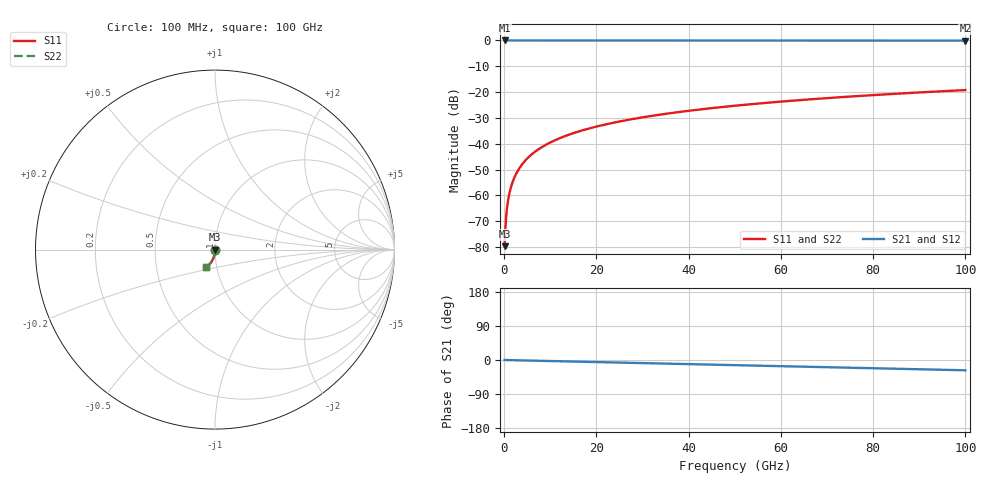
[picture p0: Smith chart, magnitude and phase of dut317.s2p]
! Touchstone file exported from HFSS 2026.1.0
!  File:  C:/ffzhzh/LocalFiles/Ansys_Project_Files/temp_train_TSV_317_1783509453_44152.aedt
!  Generated:  07:18:35 PM Jul  8, 2026
!  Design:  TSV
!  Project:  temp_train_TSV_317_1783509453_44152
! Variables:
!  h_bsmrdl = 2um
!  h_ox = 20um
!  h_rdl = 5um
!  h_sub = 51.19um
!  h_tmrdl = 5um
!  h_tsv = 51.19um
!  h_via = 3um
!  l_bsmrdl = 300um
!  l_sub = 425.08um
!  l_tmrdl = 200um
!  m_sub = 200um
!  pitch = 40.51um
!  r_tsv = 12.54um
!  s_tmrdl = 10um
!  w_bsmrdl = 18um
!  w_sub = 500um
!  w_tmrdl = 12um
!  x_tsv_center1 = 206um
!  x_tsv_center2 = 524um
!  x_tsv_center3 = 736um
!  x_tsv_center4 = 1054um
!  x_tsv_center5 = 1266um
!  x_tsv_center6 = 1584um
# GHz S MA R 50.000000
! Terminal data exported
! Port[1] = TSV1_1_T1
! Port[2] = TSV1_1_T2
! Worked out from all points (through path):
!   1000 points, 100 MHz to 100 GHz, reference 50 ohm
!   highest |S21| = 0.00 dB at 100 MHz (marker M1); lowest = -0.1 dB at 100 GHz (marker M2)
!   group delay of S21, straight-line fit = 754 fs
!   lowest |S11| = -79.6 dB at 100 MHz (marker M3), VSWR 1.00, Z = 50 - j0.00773 ohm
!   |S11| at or under -10 dB: start of sweep to end of sweep
!   |S22| runs from -79.6 to -19.2 dB; largest |S21 - S12| = 2e-15
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0.1  0.0001043 -47.8  0.9999 -0.0  0.9999 -0.0  0.0001043 -47.8
! Gamma 0 0 0 0
! Port Impedance 50 0 50 0
0.4  0.0003535 -71.8  0.9999 -0.1  0.9999 -0.1  0.0003535 -71.8
0.7  0.0006486 -76.6  0.9998 -0.2  0.9998 -0.2  0.0006486 -76.6
0.8  0.0007502 -77.6  0.9998 -0.2  0.9998 -0.2  0.0007502 -77.6
1.1  0.001058 -79.9  0.9998 -0.3  0.9998 -0.3  0.001058 -79.9
1.4  0.001367 -81.4  0.9998 -0.4  0.9998 -0.4  0.001367 -81.4
1.8  0.001783 -82.8  0.9998 -0.5  0.9998 -0.5  0.001783 -82.8
2.4  0.002411 -84.1  0.9997 -0.7  0.9997 -0.7  0.002411 -84.1
3  0.003045 -85.0  0.9997 -0.8  0.9997 -0.8  0.003045 -85.0
3.8  0.003898 -85.9  0.9996 -1.0  0.9996 -1.0  0.003898 -85.9
4.8  0.004971 -86.7  0.9996 -1.3  0.9996 -1.3  0.004971 -86.7
5.9  0.006156 -87.5  0.9995 -1.6  0.9995 -1.6  0.006156 -87.5
8.7  0.009186 -89.0  0.9994 -2.4  0.9994 -2.4  0.009186 -89.0
12.3  0.0131 -90.5  0.9993 -3.4  0.9993 -3.4  0.0131 -90.5
16.8  0.01801 -92.1  0.9991 -4.6  0.9991 -4.6  0.01801 -92.1
24.1  0.02602 -94.6  0.9988 -6.6  0.9988 -6.6  0.02602 -94.6
33.4  0.03623 -97.4  0.9983 -9.1  0.9983 -9.1  0.03623 -97.4
41.2  0.0448 -99.7  0.9978 -11.2  0.9978 -11.2  0.0448 -99.7
50.1  0.0546 -102.2  0.9972 -13.6  0.9972 -13.6  0.0546 -102.2
66.7  0.07291 -106.9  0.9958 -18.1  0.9958 -18.1  0.07291 -106.9
83.4  0.09134 -111.6  0.994 -22.6  0.994 -22.6  0.09134 -111.6
100  0.1096 -116.3  0.9919 -27.2  0.9919 -27.2  0.1096 -116.3
